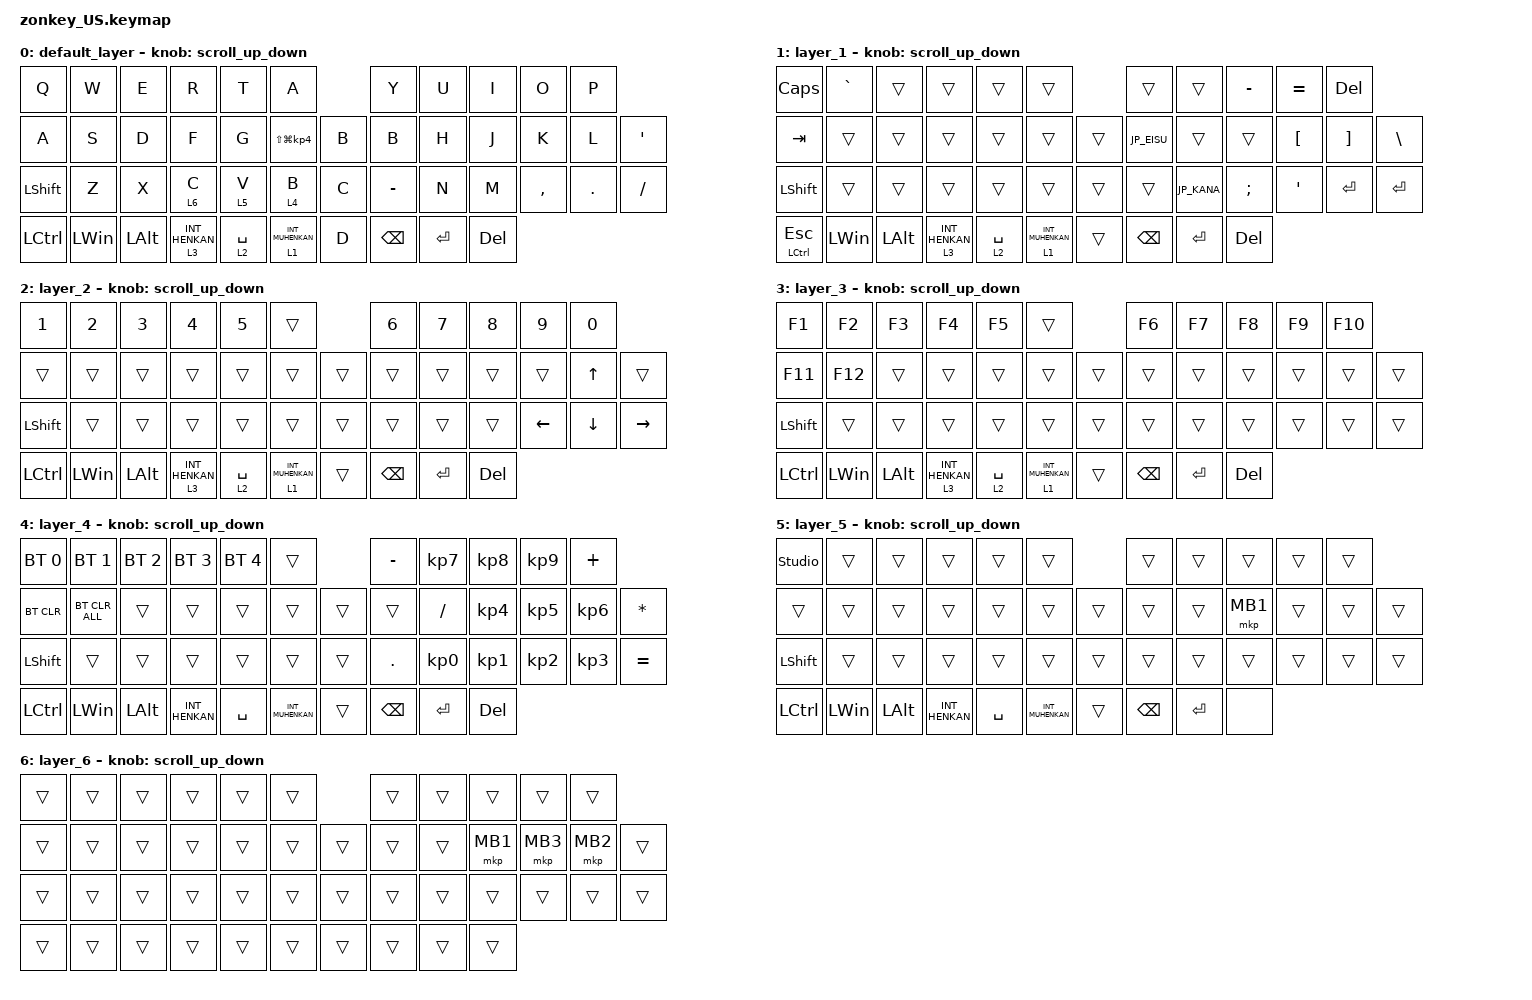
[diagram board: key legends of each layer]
#include <behaviors.dtsi>
#include <dt-bindings/zmk/keys.h>
#include <dt-bindings/zmk/pointing.h>
#include <dt-bindings/zmk/bt.h>
#include "layout_shift.dtsi"

#define MOUSE 2
#define SCROLL 3
#define BT 4

&mt {
	flavor = "tap-preferred";
};

/ {
    behaviors {
        lt_repeat: lt_repeat {
            compatible = "zmk,behavior-hold-tap";
            label = "LAYER_TAP_REPEAT";
            bindings = <&mo>, <&kp>;

            #binding-cells = <2>;
            flavor = "hold-preferred";  // 長押しを少し強めに優先
            tapping-term-ms = <1000>;    // 長押し判定（好みに応じて200〜300で調整）
            quick-tap-ms = <900>;      // タップ+長押しでリピートさせる時間
        };

        scroll_up_down: behavior_sensor_rotate_mouse_wheel_up_down {
            compatible = "zmk,behavior-sensor-rotate";
            #sensor-binding-cells = <0>;
            bindings = <&msc SCRL_DOWN>, <&msc SCRL_UP>;

            tap-ms = <20>;
        };
    };

    keymap {
        compatible = "zmk,keymap";

        default_layer {
            // -----------------------------------------------------------------------------------------
            // |  Q  |  W  |  E  |  R  |  T  |                        |  Y  |  U   |  I  |  O  |  P  | 
            // |  A  |  S  |  D  |  F  |  G  |LS(LG(S))|        　 | - |  H  |  J   |  K  |  L  |  `  | 
            // |SHIFT|  Z  |  X  |  C  |  V  |  B  |           | ; |  N  |  M   |  ,  |  .  |  /  | 
            // | CTRL | WIN | ALT |HENKAN|SPACE|MUHENKAN|       | BS | ENT |      　　　　       | DEL |           

            bindings = <
&kp Q           &kp W         &kp E         &kp R                    &kp T               &kp A                             &kp Y          &kp U      &kp I    &kp O      &kp P
&kp A           &kp S         &kp D         &kp F                    &kp G               &kp LS(LG(KP_NUMBER_4))    &kp B  &kp B          &kp H      &kp J    &kp K      &kp L    &kp SQT
&kp LEFT_SHIFT  &kp Z         &kp X         &lt_repeat 6 C           &lt_repeat 5 V      &lt_repeat 4 B             &kp C  &kp MINUS      &kp N      &kp M    &kp COMMA  &kp DOT  &kp SLASH
&kp LCTRL       &kp LEFT_WIN  &kp LEFT_ALT  &lt_repeat 3 INT_HENKAN  &lt_repeat 2 SPACE  &lt_repeat 1 INT_MUHENKAN  &kp D  &kp BACKSPACE  &kp ENTER  &kp DEL
            >;

            sensor-bindings = <&scroll_up_down>;
        };

        layer_1 {
            // -----------------------------------------------------------------------------------------
            // | 半角/全角 |CAPS|     |     |     |                     |     |     |  -  |  ^  |  ¥  |
            // | TAB |     |     |     |     |     |              |    |     |     |     |  @  |  [  |
            // |SHIFT|     |     |     |     |     |            | 英数 | かな |     |     |     |  ]  |
            // | CTRL| WIN | ALT |HENKAN|SPACE|MUHENKAN|         | BS | ENT |                   | DEL |

            bindings = <
&kp CAPSLOCK    &kp GRAVE     &trans        &trans            &trans       &trans                      &trans         &trans       &kp MINUS      &kp EQUAL         &kp DEL
&kp TAB         &trans        &trans        &trans            &trans       &trans              &trans  &kp JP_EISU    &trans       &trans         &kp LEFT_BRACKET  &kp RIGHT_BRACKET  &kp BACKSLASH
&kp LEFT_SHIFT  &trans        &trans        &trans            &trans       &trans              &trans  &trans         &kp JP_KANA  &kp SEMICOLON  &kp SQT           &kp RETURN         &kp RET
&mt LCTL ESC    &kp LEFT_WIN  &kp LEFT_ALT  &lt 3 INT_HENKAN  &lt 2 SPACE  &lt 1 INT_MUHENKAN  &trans  &kp BACKSPACE  &kp ENTER    &kp DEL
            >;

            sensor-bindings = <&scroll_up_down>;
        };

        layer_2 {
            // -----------------------------------------------------------------------------------------
            // |  1  |  2  |  3  |  4  |  5  |                     |  6  |  7  |  8  |  9  |   0  |
            // |      |     |     |     |     |     |           |    |     |     |     |  ↑  |      |
            // |SHIFT|     |     |     |     |     |           |     |     |     |  ←  |  ↓  |  →  |
            // | CTRL| WIN | ALT |HENKAN|SPACE|MUHENKAN|         | BS | ENT |                   | DEL |

            bindings = <
&kp N1          &kp N2        &kp N3        &kp N4            &kp N5       &trans                      &kp N6         &kp N7     &kp N8   &kp N9          &kp N0
&trans          &trans        &trans        &trans            &trans       &trans              &trans  &trans         &trans     &trans   &trans          &kp UP_ARROW    &trans
&kp LEFT_SHIFT  &trans        &trans        &trans            &trans       &trans              &trans  &trans         &trans     &trans   &kp LEFT_ARROW  &kp DOWN_ARROW  &kp RIGHT_ARROW
&kp LCTRL       &kp LEFT_WIN  &kp LEFT_ALT  &lt 3 INT_HENKAN  &lt 2 SPACE  &lt 1 INT_MUHENKAN  &trans  &kp BACKSPACE  &kp ENTER  &kp DEL
            >;

            sensor-bindings = <&scroll_up_down>;
        };

        layer_3 {
            // -----------------------------------------------------------------------------------------
            // | F1  | F2  | F3  | F4  | F5  |                     | F6  | F7 | F8  | F9 | F10 |
            // | F11 | F12 |     |     |     |     |           |    |     |     |     |     |      |
            // |SHIFT|     |     |     |     |     |           |     |     |     |     |     |      |
            // | CTRL| WIN | ALT |HENKAN|SPACE|MUHENKAN|         | BS | ENT |                   | DEL |

            bindings = <
&kp F1          &kp F2        &kp F3        &kp F4            &kp F5       &trans                      &kp F6         &kp F7     &kp F8   &kp F9  &kp F10
&kp F11         &kp F12       &trans        &trans            &trans       &trans              &trans  &trans         &trans     &trans   &trans  &trans   &trans
&kp LEFT_SHIFT  &trans        &trans        &trans            &trans       &trans              &trans  &trans         &trans     &trans   &trans  &trans   &trans
&kp LCTRL       &kp LEFT_WIN  &kp LEFT_ALT  &lt 3 INT_HENKAN  &lt 2 SPACE  &lt 1 INT_MUHENKAN  &trans  &kp BACKSPACE  &kp ENTER  &kp DEL
            >;

            sensor-bindings = <&scroll_up_down>;
        };

        layer_4 {
            // -----------------------------------------------------------------------------------------
            // | BT0 | BT1 | BT2 | BT3 | BT4 |                |  -  |  7  |  8  |  9  |  +  |
            // |BTCLR |     |     |     |     |     |           |  /  |  4  |  5  |  6  |  *  | 
            // |SHIFT|     |     |     |     |     |           |  0  |  1  |  2  |   3 |  .  |  =  |
            // | CTRL| WIN | ALT |HENKAN|SPACE|MUHENKAN|        | BS | ENT |                  | DEL |

            bindings = <
&bt BT_SEL 0    &bt BT_SEL 1    &bt BT_SEL 2  &bt BT_SEL 3    &bt BT_SEL 4  &trans                    &kp MINUS      &kp KP_NUMBER_7  &kp KP_NUMBER_8  &kp KP_NUMBER_9  &kp PLUS
&bt BT_CLR      &bt BT_CLR_ALL  &trans        &trans          &trans        &trans            &trans  &trans         &kp SLASH        &kp KP_NUMBER_4  &kp KP_NUMBER_5  &kp KP_NUMBER_6  &kp ASTERISK
&kp LEFT_SHIFT  &trans          &trans        &trans          &trans        &trans            &trans  &kp PERIOD     &kp KP_NUMBER_0  &kp KP_NUMBER_1  &kp KP_NUMBER_2  &kp KP_NUMBER_3  &kp EQUAL
&kp LCTRL       &kp LEFT_WIN    &kp LEFT_ALT  &kp INT_HENKAN  &kp SPACE     &kp INT_MUHENKAN  &trans  &kp BACKSPACE  &kp ENTER        &kp DEL
            >;

            sensor-bindings = <&scroll_up_down>;
        };

        layer_5 {
            bindings = <
&studio_unlock  &trans        &trans        &trans          &trans     &trans                    &trans         &trans     &trans    &trans  &trans
&trans          &trans        &trans        &trans          &trans     &trans            &trans  &trans         &trans     &mkp MB1  &trans  &trans  &trans
&kp LEFT_SHIFT  &trans        &trans        &trans          &trans     &trans            &trans  &trans         &trans     &trans    &trans  &trans  &trans
&kp LCTRL       &kp LEFT_WIN  &kp LEFT_ALT  &kp INT_HENKAN  &kp SPACE  &kp INT_MUHENKAN  &trans  &kp BACKSPACE  &kp ENTER  &none
            >;

            sensor-bindings = <&scroll_up_down>;
        };

        layer_6 {
            bindings = <
&trans  &trans  &trans  &trans  &trans  &trans          &trans  &trans  &trans    &trans    &trans
&trans  &trans  &trans  &trans  &trans  &trans  &trans  &trans  &trans  &mkp MB1  &mkp MB3  &mkp MB2  &trans
&trans  &trans  &trans  &trans  &trans  &trans  &trans  &trans  &trans  &trans    &trans    &trans    &trans
&trans  &trans  &trans  &trans  &trans  &trans  &trans  &trans  &trans  &trans
            >;

            sensor-bindings = <&scroll_up_down>;
        };
    };
};
